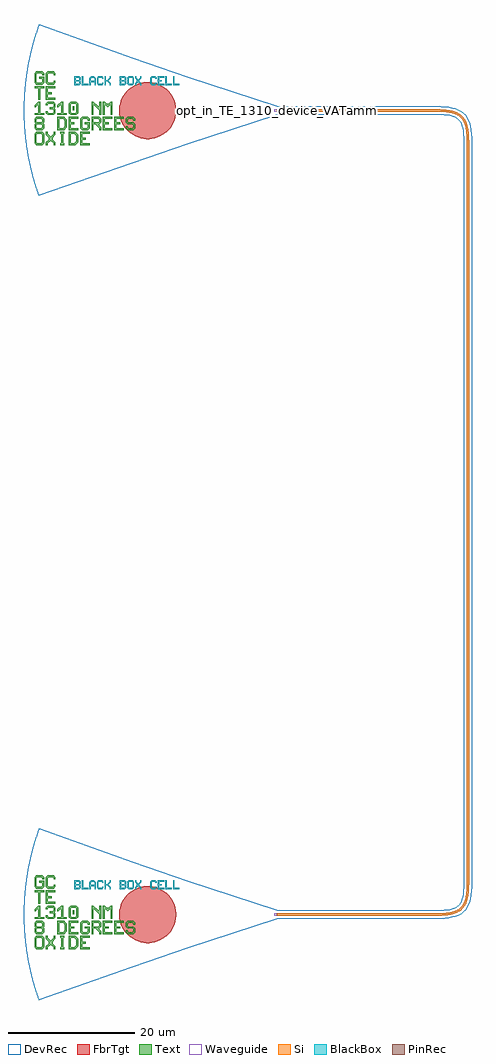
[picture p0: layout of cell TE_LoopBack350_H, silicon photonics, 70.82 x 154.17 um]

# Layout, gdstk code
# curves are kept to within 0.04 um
import gdstk
lib = gdstk.Library(unit=1e-6, precision=1e-09)
def R(c, l, rs):  # rectangles x0, y0, x1, y1
    for r in rs: c.add(gdstk.rectangle(r[:2], r[2:], *l))
def P(c, l, *ps):  # polygons
    for p in ps: c.add(gdstk.Polygon(p, *l))
Si = (1, 0)
PinRec = (1, 10)
Waveguide = (1, 99)
Text = (10, 0)
DevRec = (68, 0)
FbrTgt = (81, 0)
BlackBox = (998, 0)

waveguide = lib.new_cell('Waveguide')
P(waveguide, Si, [(0.52,254.035),(0.52,254.385),(25.7,254.385),(27.093,254.439),(28.334,254.653),(28.825,254.829),(29.328,255.12),(29.724,255.496),(29.976,255.871),(30.176,256.321),(30.328,256.853),(30.472,257.818),(30.525,259.21),(30.525,376.21),(30.471,377.603),(30.327,378.568),(30.175,379.1),(29.975,379.55),(29.723,379.925),(29.327,380.301),(28.824,380.592),(28.333,380.768),(27.092,380.982),(25.7,381.035),(0.52,381.035),(0.52,381.385),(25.921,381.384),(27.124,381.33),(28.133,381.18),(28.839,380.965),(29.43,380.657),(29.911,380.243),(30.216,379.832),(30.505,379.218),(30.669,378.644),(30.801,377.816),(30.87,376.646),(30.875,259.21),(30.836,257.973),(30.67,256.777),(30.506,256.203),(30.217,255.589),(29.912,255.178),(29.536,254.838),(29.09,254.567),(28.571,254.359),(27.978,254.209),(27.125,254.091),(25.7,254.035)])
P(waveguide, Waveguide, [(0.52,254.035),(0.52,254.385),(25.7,254.385),(27.093,254.439),(28.334,254.653),(28.825,254.829),(29.328,255.12),(29.724,255.496),(29.976,255.871),(30.176,256.321),(30.328,256.853),(30.472,257.818),(30.525,259.21),(30.525,376.21),(30.471,377.603),(30.327,378.568),(30.175,379.1),(29.975,379.55),(29.723,379.925),(29.327,380.301),(28.824,380.592),(28.333,380.768),(27.092,380.982),(25.7,381.035),(0.52,381.035),(0.52,381.385),(25.921,381.384),(27.124,381.33),(28.133,381.18),(28.839,380.965),(29.43,380.657),(29.911,380.243),(30.216,379.832),(30.505,379.218),(30.669,378.644),(30.801,377.816),(30.87,376.646),(30.875,259.21),(30.836,257.973),(30.67,256.777),(30.506,256.203),(30.217,255.589),(29.912,255.178),(29.536,254.838),(29.09,254.567),(28.571,254.359),(27.978,254.209),(27.125,254.091),(25.7,254.035)])
P(waveguide, DevRec, [(0.52,253.535),(0.52,254.885),(25.7,254.885),(27.456,254.984),(28.299,255.165),(28.627,255.288),(29.125,255.596),(29.315,255.786),(29.623,256.284),(29.848,257.002),(29.983,257.974),(30.025,259.21),(30.025,376.21),(29.982,377.447),(29.847,378.419),(29.745,378.809),(29.478,379.408),(29.314,379.635),(28.897,379.989),(28.298,380.256),(27.908,380.358),(26.936,380.493),(25.7,380.535),(0.52,380.535),(0.52,381.885),(25.7,381.885),(27.044,381.839),(28.194,381.678),(29.178,381.365),(29.611,381.135),(30,380.851),(30.624,380.122),(30.854,379.689),(31.167,378.705),(31.364,376.91),(31.375,259.21),(31.329,257.866),(31.168,256.716),(30.855,255.732),(30.625,255.299),(30.001,254.57),(29.612,254.286),(28.705,253.877),(28.195,253.743),(27.045,253.582),(25.7,253.535)])
waveguide.add(gdstk.FlexPath([(0.53,381.21),(0.51,381.21)], 0.35, ends="flush", simple_path=True, layer=1, datatype=10))  # PinRec
waveguide.add(gdstk.FlexPath([(0.53,254.21),(0.51,254.21)], 0.35, ends="flush", simple_path=True, layer=1, datatype=10))  # PinRec
waveguide.add(gdstk.Label('opt1', (0.52,381.21), layer=1, texttype=10))
waveguide.add(gdstk.Label('opt2', (0.52,254.21), layer=1, texttype=10))
waveguide.add(gdstk.Label('Lumerical_INTERCONNECT_library=Design kits/EBeam', (0.52,381.14), layer=68, texttype=0))
waveguide.add(gdstk.Label('Component=ebeam_wg_integral_1310', (0.52,381.28), layer=68, texttype=0))
waveguide.add(gdstk.Label('cellName=Waveguide', (0.52,381.35), layer=68, texttype=0))
waveguide.add(gdstk.Label('Spice_param:wg_length=0.000184267 wg_width=3.5e-07 points="[[0.52,381.21],[30.7,381.21],[30.7,254.21],[0.52,254.21]]" radius=5e-06', (0.52,381.21), layer=68, texttype=0))
waveguide.add(gdstk.Label('Length=184.267 (microns)', (0.52,380.79), layer=68, texttype=0))
waveguide.add(gdstk.Label('waveguide_type=Strip TE 1310 nm, w=350 nm', (0.52,381.07), layer=68, texttype=0))

text = lib.new_cell('TEXT')
P(text, BlackBox, [(0,0),(0,1.4),(0.8,1.4),(1,1.2),(0.2,1.2),(0.2,0.8),(0.7,0.8),(0.8,0.9),(0.8,1.1),(0.7,1.2),(1,1.2),(1,0.8),(0.9,0.7),(1,0.6),(0.2,0.6),(0.2,0.2),(0.7,0.2),(0.8,0.3),(0.8,0.5),(0.7,0.6),(1,0.6),(1,0.2),(0.8,0)],
  [(1.2,0),(1.2,1.4),(1.4,1.4),(1.4,0.2),(2.2,0.2),(2.2,0)],
  [(2.4,0),(2.4,1.1),(2.7,1.4),(3.1,1.4),(3.3,1.2),(2.8,1.2),(2.6,1),(2.6,0.7),(3.2,0.7),(3.2,1),(3,1.2),(3.3,1.2),(3.4,1.1),(3.4,0),(3.2,0),(3.2,0.5),(2.6,0.5),(2.6,0)],
  [(3.8,0),(3.6,0.2),(3.6,1.2),(3.8,1.4),(4.4,1.4),(4.6,1.2),(4.6,1),(4.4,1),(4.4,1.1),(4.3,1.2),(3.9,1.2),(3.8,1.1),(3.8,0.3),(3.9,0.2),(4.3,0.2),(4.4,0.3),(4.4,0.4),(4.6,0.4),(4.6,0.2),(4.4,0)],
  [(4.8,0),(4.8,1.4),(5,1.4),(5,0.8),(5.2,0.8),(5.6,1.2),(5.6,1.4),(5.8,1.4),(5.8,1.1),(5.4,0.7),(5.8,0.3),(5.8,0),(5.6,0),(5.6,0.2),(5.2,0.6),(5,0.6),(5,0)],
  [(7.2,0),(7.2,1.4),(8,1.4),(8.2,1.2),(7.4,1.2),(7.4,0.8),(7.9,0.8),(8,0.9),(8,1.1),(7.9,1.2),(8.2,1.2),(8.2,0.8),(8.1,0.7),(8.2,0.6),(7.4,0.6),(7.4,0.2),(7.9,0.2),(8,0.3),(8,0.5),(7.9,0.6),(8.2,0.6),(8.2,0.2),(8,0)],
  [(8.6,0),(8.4,0.2),(8.4,1.2),(8.6,1.4),(9.2,1.4),(9.4,1.2),(9.4,0.7),(9.2,0.7),(9.2,1.1),(9.1,1.2),(8.7,1.2),(8.6,1.1),(8.6,0.3),(8.7,0.2),(9.1,0.2),(9.2,0.3),(9.2,0.7),(9.4,0.7),(9.4,0.2),(9.2,0)],
  [(9.6,0),(9.6,0.3),(9.9,0.6),(9.9,0.8),(9.6,1.1),(9.6,1.4),(9.8,1.4),(9.8,1.2),(10.1,0.9),(10.4,1.2),(10.4,1.4),(10.6,1.4),(10.6,1.1),(10.3,0.8),(10.3,0.6),(10.6,0.3),(10.6,0),(10.4,0),(10.4,0.2),(10.1,0.5),(9.8,0.2),(9.8,0)],
  [(12.2,0),(12,0.2),(12,1.2),(12.2,1.4),(12.8,1.4),(13,1.2),(13,1),(12.8,1),(12.8,1.1),(12.7,1.2),(12.3,1.2),(12.2,1.1),(12.2,0.3),(12.3,0.2),(12.7,0.2),(12.8,0.3),(12.8,0.4),(13,0.4),(13,0.2),(12.8,0)],
  [(13.2,0),(13.2,1.4),(14.2,1.4),(14.2,1.2),(13.4,1.2),(13.4,0.8),(13.8,0.8),(13.8,0.6),(13.4,0.6),(13.4,0.2),(14.2,0.2),(14.2,0)],
  [(14.4,0),(14.4,1.4),(14.6,1.4),(14.6,0.2),(15.4,0.2),(15.4,0)],
  [(15.6,0),(15.6,1.4),(15.8,1.4),(15.8,0.2),(16.6,0.2),(16.6,0)])

gc_te_1310_8degoxide_bb = lib.new_cell('GC_TE_1310_8degOxide_BB')
R(gc_te_1310_8degoxide_bb, Waveguide, [(-0.4,-0.175,0,0.175)])
R(gc_te_1310_8degoxide_bb, Text, [(-32.27,0.06,-31.97,0.66)])
P(gc_te_1310_8degoxide_bb, Text, [(-37.67,1.71),(-37.67,3.51),(-38.27,3.51),(-38.27,3.81),(-36.77,3.81),(-36.77,3.51),(-37.37,3.51),(-37.37,1.71)],
  [(-37.97,-5.49),(-38.27,-5.19),(-38.27,-3.69),(-37.97,-3.39),(-37.07,-3.39),(-36.77,-3.69),(-36.77,-4.44),(-37.07,-4.44),(-37.07,-3.84),(-37.22,-3.69),(-37.82,-3.69),(-37.97,-3.84),(-37.97,-5.04),(-37.82,-5.19),(-37.22,-5.19),(-37.07,-5.04),(-37.07,-4.44),(-36.77,-4.44),(-36.77,-5.19),(-37.07,-5.49)],
  [(-31.07,-5.49),(-31.07,-3.39),(-29.57,-3.39),(-29.57,-3.69),(-30.77,-3.69),(-30.77,-4.29),(-30.17,-4.29),(-30.17,-4.59),(-30.77,-4.59),(-30.77,-5.19),(-29.57,-5.19),(-29.57,-5.49)],
  [(-32.87,-3.09),(-32.87,-0.99),(-31.37,-0.99),(-31.37,-1.29),(-32.57,-1.29),(-32.57,-1.89),(-31.97,-1.89),(-31.97,-2.19),(-32.57,-2.19),(-32.57,-2.79),(-31.37,-2.79),(-31.37,-3.09)],
  [(-27.47,-3.09),(-27.47,-0.99),(-25.97,-0.99),(-25.97,-1.29),(-27.17,-1.29),(-27.17,-1.89),(-26.57,-1.89),(-26.57,-2.19),(-27.17,-2.19),(-27.17,-2.79),(-25.97,-2.79),(-25.97,-3.09)],
  [(-25.67,-3.09),(-25.67,-0.99),(-24.17,-0.99),(-24.17,-1.29),(-25.37,-1.29),(-25.37,-1.89),(-24.77,-1.89),(-24.77,-2.19),(-25.37,-2.19),(-25.37,-2.79),(-24.17,-2.79),(-24.17,-3.09)],
  [(-36.47,1.71),(-36.47,3.81),(-34.97,3.81),(-34.97,3.51),(-36.17,3.51),(-36.17,2.91),(-35.57,2.91),(-35.57,2.61),(-36.17,2.61),(-36.17,2.01),(-34.97,2.01),(-34.97,1.71)],
  [(-27.47,-0.69),(-27.47,1.41),(-27.17,1.41),(-26.87,1.11),(-26.57,1.11),(-26.27,1.41),(-25.97,1.41),(-25.97,-0.69),(-26.27,-0.69),(-26.27,0.81),(-26.42,0.81),(-26.72,0.51),(-27.02,0.81),(-27.17,0.81),(-27.17,-0.69)],
  [(-29.27,-0.69),(-29.27,1.41),(-28.97,1.41),(-28.22,0.66),(-28.07,0.66),(-28.07,1.41),(-27.77,1.41),(-27.77,-0.69),(-28.07,-0.69),(-28.07,0.06),(-28.82,0.81),(-28.97,0.81),(-28.97,-0.69)],
  [(-34.22,-5.49),(-34.22,-5.19),(-34.07,-5.19),(-34.07,-3.69),(-34.22,-3.69),(-34.22,-3.39),(-33.62,-3.39),(-33.62,-3.69),(-33.77,-3.69),(-33.77,-5.19),(-33.62,-5.19),(-33.62,-5.49)],
  [(-36.17,-0.69),(-36.47,-0.39),(-36.47,-0.09),(-36.17,-0.09),(-36.17,-0.24),(-36.02,-0.39),(-35.42,-0.39),(-35.27,-0.24),(-35.27,0.06),(-35.42,0.21),(-35.87,0.21),(-35.87,0.51),(-35.42,0.51),(-35.27,0.66),(-35.27,0.96),(-35.42,1.11),(-36.02,1.11),(-36.17,0.96),(-36.17,0.81),(-36.47,0.81),(-36.47,1.11),(-36.17,1.41),(-35.27,1.41),(-34.97,1.11),(-34.97,0.51),(-35.12,0.36),(-34.97,0.21),(-34.97,-0.39),(-35.27,-0.69)],
  [(-29.27,-3.09),(-29.27,-0.99),(-28.07,-0.99),(-27.77,-1.29),(-28.97,-1.29),(-28.97,-1.89),(-28.22,-1.89),(-28.07,-1.74),(-28.07,-1.44),(-28.22,-1.29),(-27.77,-1.29),(-27.77,-1.89),(-28.07,-2.19),(-28.07,-2.34),(-27.77,-2.64),(-27.77,-3.09),(-28.07,-3.09),(-28.07,-2.79),(-28.67,-2.19),(-28.97,-2.19),(-28.97,-3.09)],
  [(-30.77,-3.09),(-31.07,-2.79),(-31.07,-1.29),(-30.77,-0.99),(-29.87,-0.99),(-29.57,-1.29),(-29.57,-1.59),(-29.87,-1.59),(-29.87,-1.44),(-30.02,-1.29),(-30.62,-1.29),(-30.77,-1.44),(-30.77,-2.64),(-30.62,-2.79),(-30.02,-2.79),(-29.87,-2.64),(-29.87,-2.19),(-30.32,-2.19),(-30.32,-1.89),(-29.57,-1.89),(-29.57,-2.79),(-29.87,-3.09)],
  [(-37.97,4.11),(-38.27,4.41),(-38.27,5.91),(-37.97,6.21),(-37.07,6.21),(-36.77,5.91),(-36.77,5.61),(-37.07,5.61),(-37.07,5.76),(-37.22,5.91),(-37.82,5.91),(-37.97,5.76),(-37.97,4.56),(-37.82,4.41),(-37.22,4.41),(-37.07,4.56),(-37.07,5.01),(-37.52,5.01),(-37.52,5.31),(-36.77,5.31),(-36.77,4.41),(-37.07,4.11)],
  [(-32.57,-0.69),(-32.87,-0.39),(-32.87,1.11),(-32.57,1.41),(-31.67,1.41),(-31.37,1.11),(-32.42,1.11),(-32.57,0.96),(-32.57,-0.24),(-32.42,-0.39),(-31.82,-0.39),(-31.67,-0.24),(-31.67,0.96),(-31.82,1.11),(-31.37,1.11),(-31.37,-0.39),(-31.67,-0.69)],
  [(-32.87,-5.49),(-32.87,-3.39),(-31.82,-3.39),(-31.52,-3.69),(-32.57,-3.69),(-32.57,-5.19),(-31.97,-5.19),(-31.67,-4.89),(-31.67,-3.99),(-31.97,-3.69),(-31.52,-3.69),(-31.37,-3.84),(-31.37,-5.04),(-31.82,-5.49)],
  [(-34.67,-3.09),(-34.67,-0.99),(-33.62,-0.99),(-33.32,-1.29),(-34.37,-1.29),(-34.37,-2.79),(-33.77,-2.79),(-33.47,-2.49),(-33.47,-1.59),(-33.77,-1.29),(-33.32,-1.29),(-33.17,-1.44),(-33.17,-2.64),(-33.62,-3.09)],
  [(-23.57,-3.09),(-23.87,-2.79),(-23.87,-2.49),(-23.57,-2.49),(-23.57,-2.64),(-23.42,-2.79),(-22.82,-2.79),(-22.67,-2.64),(-22.67,-2.34),(-22.82,-2.19),(-23.57,-2.19),(-23.87,-1.89),(-23.87,-1.29),(-23.57,-0.99),(-22.67,-0.99),(-22.37,-1.29),(-22.37,-1.59),(-22.67,-1.59),(-22.67,-1.44),(-22.82,-1.29),(-23.42,-1.29),(-23.57,-1.44),(-23.57,-1.74),(-23.42,-1.89),(-22.67,-1.89),(-22.37,-2.19),(-22.37,-2.79),(-22.67,-3.09)],
  [(-37.97,-3.09),(-38.27,-2.79),(-38.27,-2.19),(-38.12,-2.04),(-38.27,-1.89),(-38.27,-1.29),(-37.97,-0.99),(-37.07,-0.99),(-36.77,-1.29),(-37.82,-1.29),(-37.97,-1.44),(-37.97,-1.74),(-37.82,-1.89),(-37.22,-1.89),(-37.07,-1.74),(-37.07,-1.44),(-37.22,-1.29),(-36.77,-1.29),(-36.77,-1.89),(-36.92,-2.04),(-36.77,-2.19),(-37.82,-2.19),(-37.97,-2.34),(-37.97,-2.64),(-37.82,-2.79),(-37.22,-2.79),(-37.07,-2.64),(-37.07,-2.34),(-37.22,-2.19),(-36.77,-2.19),(-36.77,-2.79),(-37.07,-3.09)],
  [(-38.27,-0.69),(-38.27,-0.39),(-37.67,-0.39),(-37.67,0.81),(-37.82,0.81),(-38.12,0.51),(-38.27,0.51),(-38.27,0.81),(-37.67,1.41),(-37.37,1.41),(-37.37,-0.39),(-36.77,-0.39),(-36.77,-0.69)],
  [(-34.67,-0.69),(-34.67,-0.39),(-34.07,-0.39),(-34.07,0.81),(-34.22,0.81),(-34.52,0.51),(-34.67,0.51),(-34.67,0.81),(-34.07,1.41),(-33.77,1.41),(-33.77,-0.39),(-33.17,-0.39),(-33.17,-0.69)],
  [(-36.47,-5.49),(-36.47,-5.04),(-36.02,-4.59),(-36.02,-4.29),(-36.47,-3.84),(-36.47,-3.39),(-36.17,-3.39),(-36.17,-3.69),(-35.72,-4.14),(-35.27,-3.69),(-35.27,-3.39),(-34.97,-3.39),(-34.97,-3.84),(-35.42,-4.29),(-35.42,-4.59),(-34.97,-5.04),(-34.97,-5.49),(-35.27,-5.49),(-35.27,-5.19),(-35.72,-4.74),(-36.17,-5.19),(-36.17,-5.49)],
  [(-36.17,4.11),(-36.47,4.41),(-36.47,5.91),(-36.17,6.21),(-35.27,6.21),(-34.97,5.91),(-34.97,5.61),(-35.27,5.61),(-35.27,5.76),(-35.42,5.91),(-36.02,5.91),(-36.17,5.76),(-36.17,4.56),(-36.02,4.41),(-35.42,4.41),(-35.27,4.56),(-35.27,4.71),(-34.97,4.71),(-34.97,4.41),(-35.27,4.11)])
P(gc_te_1310_8degoxide_bb, DevRec, [(-37.607,-13.5),(-38.627,-10.245),(-39.378,-6.832),(-39.647,-5.058),(-39.835,-3.274),(-39.969,0.224),(-39.812,3.541),(-39.331,7.097),(-38.557,10.505),(-37.546,13.669),(-22.8,8.353),(-14.109,5.36),(0,0.75),(0,-0.75),(-14.109,-5.36)])
P(gc_te_1310_8degoxide_bb, FbrTgt, [(-20.621,-4.5),(-21.495,-4.37),(-22.326,-4.073),(-23.084,-3.619),(-23.738,-3.026),(-24.264,-2.316),(-24.642,-1.518),(-24.857,-0.661),(-24.9,0.221),(-24.77,1.095),(-24.473,1.926),(-24.019,2.684),(-23.426,3.338),(-22.716,3.864),(-21.918,4.242),(-21.061,4.457),(-20.179,4.5),(-19.305,4.37),(-18.474,4.073),(-17.716,3.619),(-17.062,3.026),(-16.536,2.316),(-16.158,1.518),(-15.943,0.661),(-15.9,-0.221),(-16.03,-1.095),(-16.327,-1.926),(-16.781,-2.684),(-17.374,-3.338),(-18.084,-3.864),(-18.882,-4.242),(-19.739,-4.457)])
gc_te_1310_8degoxide_bb.add(gdstk.FlexPath([(-0.01,0),(0.01,0)], 0.35, ends="flush", simple_path=True, layer=1, datatype=10))  # PinRec
gc_te_1310_8degoxide_bb.add(gdstk.Reference(text, (-32,4)))
gc_te_1310_8degoxide_bb.add(gdstk.Label('opt1', (0,0), layer=1, texttype=10))
gc_te_1310_8degoxide_bb.add(gdstk.Label('Lumerical_INTERCONNECT_library=Design kits/ebeam', (-29,-7), layer=68, texttype=0))
gc_te_1310_8degoxide_bb.add(gdstk.Label('Component=GC_TE_1310_8degOxide_BB', (-28,-5), layer=68, texttype=0))

te_loopback350_h = lib.new_cell('TE_LoopBack350_H')
te_loopback350_h.add(gdstk.Reference(waveguide, (39.449,-240.71)))
te_loopback350_h.add(gdstk.Reference(gc_te_1310_8degoxide_bb, (39.969,13.5)))
te_loopback350_h.add(gdstk.Reference(gc_te_1310_8degoxide_bb, (39.969,140.5)))
te_loopback350_h.add(gdstk.Label('opt_in_TE_1310_device_VATamma_devH350TELoop', (39.979,140.52), layer=10, texttype=0))

lib.write_gds('TE_LoopBack350_H.gds')
